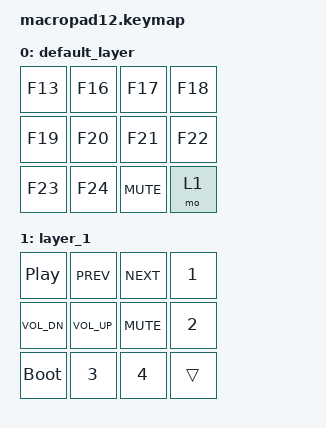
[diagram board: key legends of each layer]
#include <behaviors.dtsi>
#include <dt-bindings/zmk/keys.h>

/ {
    keymap {
        compatible = "zmk,keymap";

        // Layer 0: F-Keys & Bootloader
        default_layer {
            bindings = <
                &kp F13      &kp F16      &kp F17      &kp F18
                &kp F19      &kp F20      &kp F21      &kp F22
                &kp F23      &kp F24      &kp K_MUTE   &mo 1
            >;
        };

        // Layer 1: Media & System Controls
        layer_1 {
            bindings = <
                &kp C_PP     &kp C_PREV   &kp C_NEXT   &kp N1
                &kp C_VOL_DN &kp C_VOL_UP &kp C_MUTE   &kp N2
                &bootloader  &kp N3       &kp N4       &trans
            >;
        };
    };
};
